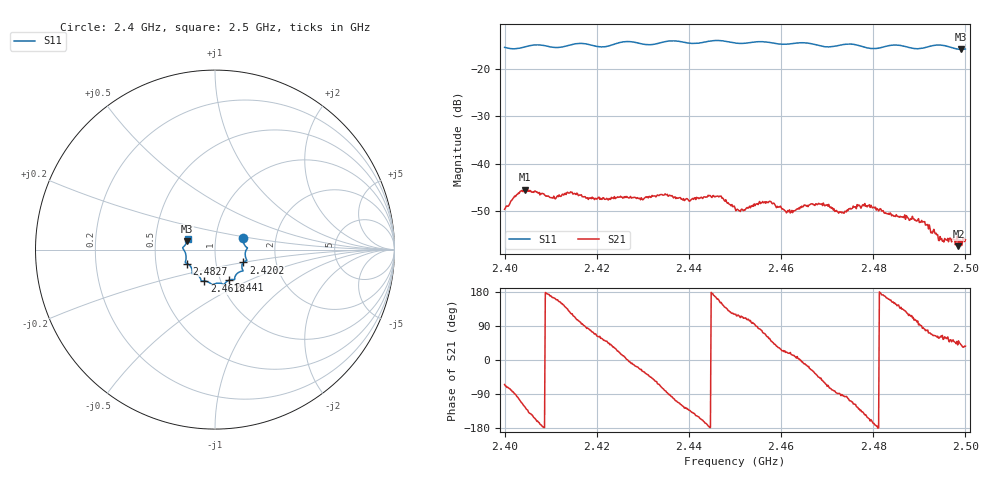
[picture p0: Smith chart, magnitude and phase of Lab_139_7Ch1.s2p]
# Hz S RI R 50
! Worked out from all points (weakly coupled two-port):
!   601 points, 2.4 GHz to 2.5 GHz, reference 50 ohm
!   highest |S21| = -45.52 dB at 2.4043 GHz (marker M1); lowest = -57.4 dB at 2.4985 GHz (marker M2)
!   lowest |S11| = -15.8 dB at 2.499 GHz (marker M3), VSWR 1.39, Z = 36.4 + j3.47 ohm
!   |S11| at or under -10 dB: start of sweep to end of sweep
!   S12 and S22 are empty: the file has one direction only
!   S11 on the Smith chart (normalised r, x): 2.4 GHz: 1.36, +0.18; 2.4202 GHz: 1.36, -0.20; 2.441 GHz: 1.10, -0.39; 2.4618 GHz: 0.84, -0.30; 2.4827 GHz: 0.72, -0.12; 2.5 GHz: 0.73, +0.09
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2.4e9  0.1583 0.0626  0.0014 -0.00298  0 0  0 0
2.404333e9  0.171 0.0173  -0.00286 -0.00446  0 0  0 0
2.410667e9  0.1697 -0.013  -0.00436 0.00125  0 0  0 0
2.414e9  0.1726 -0.0492  -0.00306 0.00382  0 0  0 0
2.416667e9  0.1774 -0.0607  -0.000416 0.00467  0 0  0 0
2.420167e9  0.1584 -0.0715  0.00198 0.00379  0 0  0 0
2.433333e9  0.1117 -0.1507  0.00206 -0.00415  0 0  0 0
2.441e9  0.0784 -0.1699  -0.00325 -0.00265  0 0  0 0
2.4465e9  0.0492 -0.195  -0.00413 0.00166  0 0  0 0
2.45e9  0.0282 -0.1873  -0.00172 0.00294  0 0  0 0
2.457333e9  -0.021 -0.1913  0.00218 0.0033  0 0  0 0
2.461833e9  -0.0592 -0.1757  0.00311 0.000976  0 0  0 0
2.466667e9  -0.0786 -0.1682  0.00336 -0.00168  0 0  0 0
2.473e9  -0.12 -0.1345  -0.000219 -0.00309  0 0  0 0
2.478667e9  -0.1283 -0.1088  -0.00305 -0.00169  0 0  0 0
2.482667e9  -0.1561 -0.0775  -0.00295 0.000661  0 0  0 0
2.483333e9  -0.1604 -0.0754  -0.00281 0.00101  0 0  0 0
2.491e9  -0.1679 -0.0113  0.000306 0.00242  0 0  0 0
2.494667e9  -0.1794 0.0113  0.000716 0.0014  0 0  0 0
2.4985e9  -0.1579 0.0398  0.000851 0.00104  0 0  0 0
2.499e9  -0.1551 0.0464  0.00118 0.00102  0 0  0 0
2.5e9  -0.1519 0.0607  0.00126 0.000933  0 0  0 0
